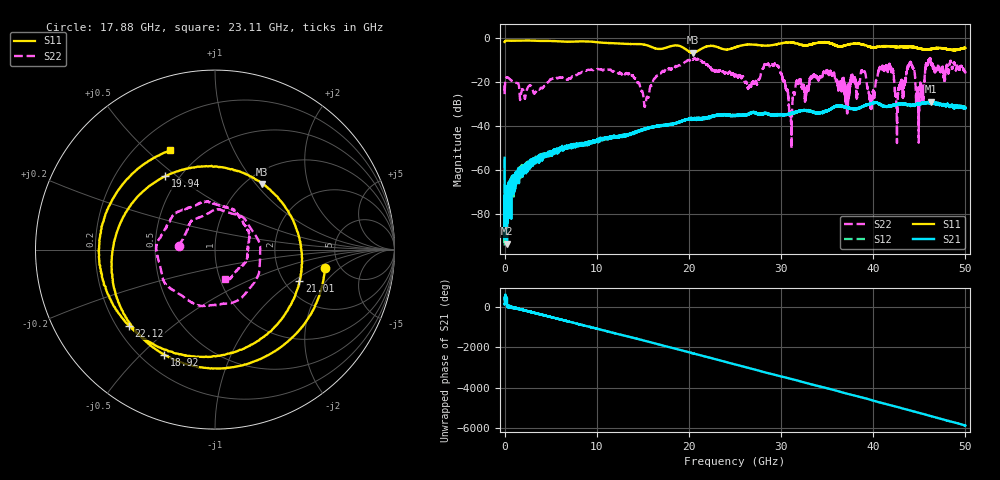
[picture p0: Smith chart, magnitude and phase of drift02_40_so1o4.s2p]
!Created with skrf (http://scikit-rf.org).
# Hz S RI R 50.0
!freq ReS11 ImS11 ReS21 ImS21 ReS12 ImS12 ReS22 ImS22
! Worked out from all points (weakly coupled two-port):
!   10001 points, 300 kHz to 50 GHz, reference 50 ohm
!   highest |S21| = -29.03 dB at 46.22 GHz (marker M1); lowest = -93.4 dB at 265.3 MHz (marker M2)
!   lowest |S11| = -6.9 dB at 20.44 GHz (marker M3), VSWR 2.64, Z = 59 + j54 ohm
!   |S11| at or under -10 dB: nowhere
!   |S22| runs from -50.4 to -9.0 dB; largest |S21 - S12| = 0.0032
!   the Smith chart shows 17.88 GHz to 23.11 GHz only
!   S11 on the Smith chart (normalised r, x): 17.88 GHz: 3.84, -1.26; 18.92 GHz: 0.29, -0.59; 19.94 GHz: 0.42, +0.46; 21.01 GHz: 2.40, -1.13; 22.12 GHz: 0.25, -0.36; 23.11 GHz: 0.34, +0.59
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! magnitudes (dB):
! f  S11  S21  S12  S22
! 300 kHz  -2.1  -54.5  -55.1  -21.7
! 265.3 MHz  -1.4  -93.4  -79.8  -18.0
! 8.335 GHz  -1.7  -48.3  -48.1  -15.7
! 15.32 GHz  -3.4  -41.4  -41.5  -29.1
! 16.67 GHz  -5.2  -40.1  -40.1  -17.0
! 17.88 GHz  -4.1  -39.4  -39.4  -13.9
! 18.92 GHz  -3.7  -38.3  -38.4  -12.4
! 19.94 GHz  -6.1  -37.0  -37.0  -10.1
! 20.44 GHz  -6.9  -36.9  -36.6  -10.0
! 21.01 GHz  -6.0  -36.9  -36.7  -9.8
! 22.12 GHz  -3.9  -36.1  -36.2  -13.0
! 23.11 GHz  -4.3  -35.4  -35.2  -15.2
! 25 GHz  -4.5  -35.2  -35.3  -17.4
! 29.51 GHz  -3.1  -35.1  -35.2  -12.6
! 31.03 GHz  -2.2  -34.1  -34.6  -36.0
! 33.34 GHz  -3.0  -33.7  -33.5  -18.2
! 39.86 GHz  -4.4  -29.8  -29.9  -28.4
! 41.67 GHz  -3.9  -31.1  -31.1  -13.3
! 44.17 GHz  -4.2  -30.8  -30.6  -12.0
! 44.85 GHz  -4.8  -30.4  -30.0  -25.5
! 46.22 GHz  -5.3  -29.0  -29.2  -10.2
! 50 GHz  -4.7  -32.1  -32.2  -15.7
